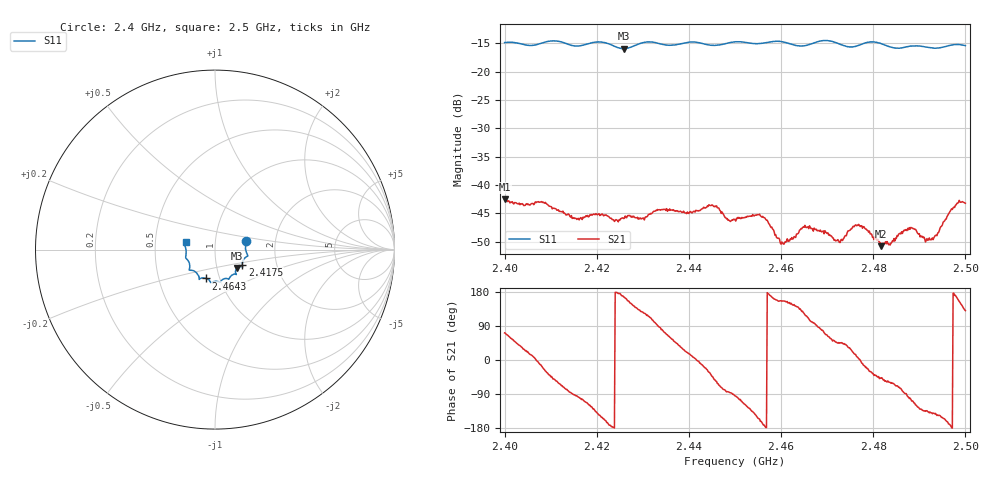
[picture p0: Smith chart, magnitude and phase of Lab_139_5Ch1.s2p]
# Hz S RI R 50
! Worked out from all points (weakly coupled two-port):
!   601 points, 2.4 GHz to 2.5 GHz, reference 50 ohm
!   highest |S21| = -42.53 dB at 2.4 GHz (marker M1); lowest = -50.8 dB at 2.4817 GHz (marker M2)
!   lowest |S11| = -15.9 dB at 2.4258 GHz (marker M3), VSWR 1.38, Z = 62.3 - j13.2 ohm
!   |S11| at or under -10 dB: start of sweep to end of sweep
!   S12 and S22 are empty: the file has one direction only
!   S11 on the Smith chart (normalised r, x): 2.4 GHz: 1.41, +0.14; 2.4175 GHz: 1.33, -0.23; 2.4643 GHz: 0.86, -0.28; 2.5 GHz: 0.72, +0.06
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2.4e9  0.1736 0.0488  0.00237 0.00708  0 0  0 0
2.408333e9  0.1788 -0.0237  0.00658 -0.00255  0 0  0 0
2.416667e9  0.1526 -0.0742  -0.00126 -0.00494  0 0  0 0
2.4175e9  0.1517 -0.0838  -0.00182 -0.00488  0 0  0 0
2.425833e9  0.1217 -0.1031  -0.00491 0.00119  0 0  0 0
2.429833e9  0.1168 -0.1358  -0.00305 0.00402  0 0  0 0
2.433333e9  0.1133 -0.1367  7.94e-05 0.00602  0 0  0 0
2.439667e9  0.0793 -0.1628  0.00544 0.00195  0 0  0 0
2.444833e9  0.057 -0.1609  0.00507 -0.0042  0 0  0 0
2.45e9  0.029 -0.1811  -0.000382 -0.0049  0 0  0 0
2.4555e9  -0.00219 -0.1771  -0.00509 -0.00166  0 0  0 0
2.460333e9  -0.0251 -0.1816  -0.00282 0.00126  0 0  0 0
2.464333e9  -0.0497 -0.1607  -0.00272 0.0031  0 0  0 0
2.466667e9  -0.076 -0.159  -0.000737 0.00406  0 0  0 0
2.472333e9  -0.0887 -0.1539  0.00235 0.00231  0 0  0 0
2.477e9  -0.1266 -0.1157  0.0044 0.000169  0 0  0 0
2.481667e9  -0.1418 -0.1055  0.00191 -0.00216  0 0  0 0
2.483333e9  -0.1405 -0.0899  0.00156 -0.00252  0 0  0 0
2.488e9  -0.1602 -0.05  -0.000753 -0.00399  0 0  0 0
2.492833e9  -0.1604 -0.0163  -0.00267 -0.00211  0 0  0 0
2.498167e9  -0.1702 0.0333  -0.00662 0.00194  0 0  0 0
2.5e9  -0.1642 0.0425  -0.00446 0.00525  0 0  0 0
